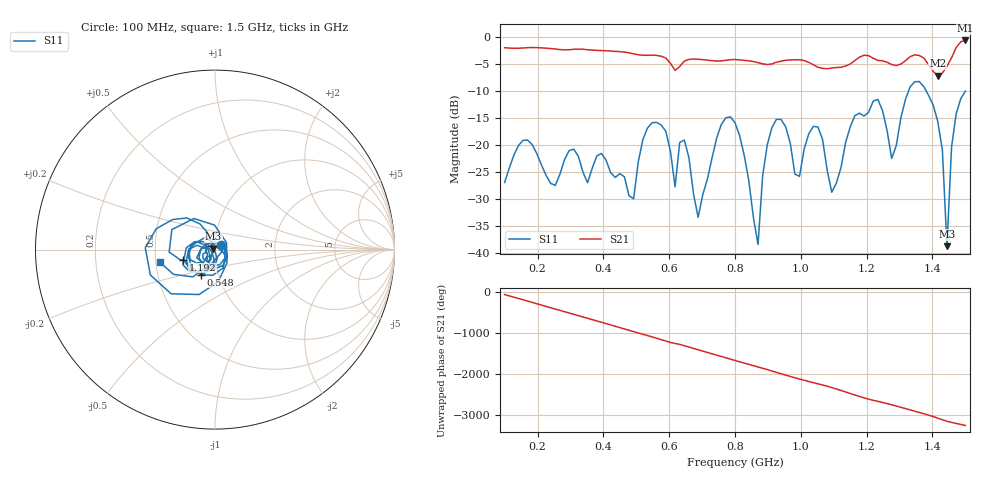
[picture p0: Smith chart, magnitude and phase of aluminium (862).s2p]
! NanoVNA-App
! Date: 2025-09-25 15:01:59
! Start: 100MHz Stop: 1,5GHz Points: 101
! S-Parameter data: F S11 S21 S12 S22
# Hz S RI R 50
!  Frequency  S11_Real  S11_Imag  S21_Real  S21_Imag  S12_Real  S12_Imag  S22_Real  S22_Imag
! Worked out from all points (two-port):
!   101 points, 100 MHz to 1.5 GHz, reference 50 ohm
!   highest |S21| = -0.58 dB at 1.5 GHz (marker M1); lowest = -7.1 dB at 1.416 GHz (marker M2)
!   |S21| within 3 dB of the highest: start of sweep to 578.7 MHz; 1.46 GHz to end of sweep (the widest 2 of 4)
!   lowest |S11| = -38.8 dB at 1.444 GHz (marker M3), VSWR 1.02, Z = 49 + j0.529 ohm
!   |S11| at or under -10 dB: start of sweep to 1.327 GHz; 1.381 GHz to end of sweep
!   S12 and S22 are empty: the file has one direction only
!   S11 on the Smith chart (normalised r, x): 100 MHz: 1.07, +0.06; 548 MHz: 0.82, -0.23; 1.192 GHz: 0.70, -0.08; 1.5 GHz: 0.52, -0.08
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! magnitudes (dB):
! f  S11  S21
! 100 MHz  -27.0  -1.9
! 156 MHz  -19.1  -2.0
! 338 MHz  -25.0  -2.2
! 492 MHz  -30.0  -3.1
! 548 MHz  -15.9  -3.3
! 576 MHz  -16.3  -3.5
! 618 MHz  -27.8  -6.1
! 646 MHz  -19.1  -4.4
! 688 MHz  -33.4  -4.1
! 800 MHz  -15.9  -4.1
! 870 MHz  -38.5  -4.7
! 912 MHz  -16.8  -4.9
! 996 MHz  -25.8  -4.2
! 1.038 GHz  -16.5  -5.1
! 1.094 GHz  -28.8  -5.7
! 1.192 GHz  -14.6  -3.3
! 1.276 GHz  -22.5  -5.0
! 1.346 GHz  -8.2  -3.2
! 1.416 GHz  -15.6  -7.1
! 1.444 GHz  -38.8  -5.4
! 1.458 GHz  -20.4  -3.8
! 1.5 GHz  -10.0  -0.6
